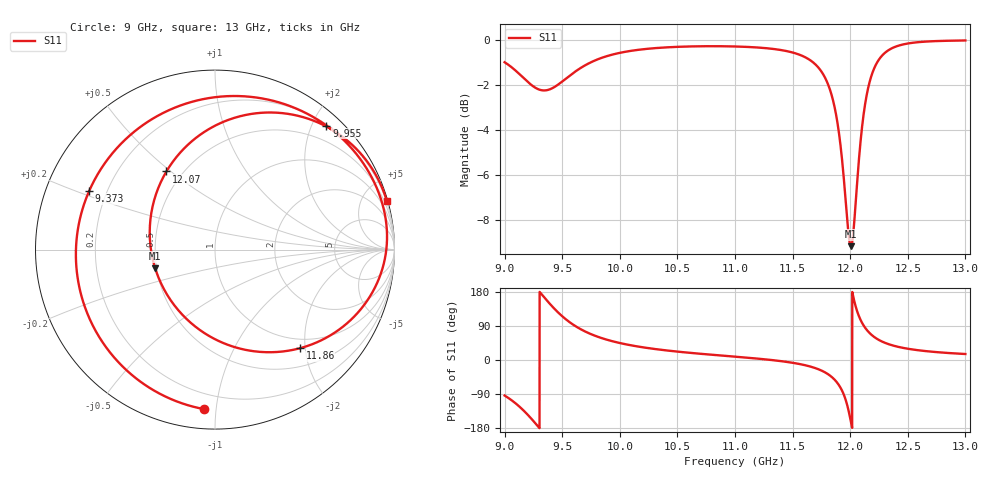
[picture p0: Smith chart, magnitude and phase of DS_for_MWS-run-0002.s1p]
! TOUCHSTONE file generated by CST DESIGN STUDIO
! Date and time: Tue Feb  4 17:58:38 2025
! Project name: C:\Work\MatlabApps\UnitCellOptimizationMatlab\CST\unitcell.cst
! Tree item: Tasks\Sweep1\SPara1\S-Parameters
! Header version: 2024
! Port assignment regex: !\s*Touchstone port\s*([0-9]+)\s*=\s*(CST MWS port|CST DES external port|CST DES block port)\s*(.+)\s* \(\"(.*)\"\)(\s*mode\s*([0-9]+))?.*
! Touchstone port assignment:
! Touchstone port 1 = CST DES external port 1 ("")
# GHz S MA R 50
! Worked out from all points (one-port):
!   4001 points, 9 GHz to 13 GHz, reference 50 ohm
!   lowest |S11| = -9.1 dB at 12.01 GHz (marker M1), VSWR 2.07, Z = 24.6 - j5.86 ohm
!   |S11| at or under -10 dB: nowhere
!   S11 on the Smith chart (normalised r, x): 9 GHz: 0.11, -0.93; 9.373 GHz: 0.13, +0.22; 9.955 GHz: 0.22, +2.23; 11.86 GHz: 0.82, -1.89; 12.07 GHz: 0.41, +0.48; 13 GHz: 0.12, +7.21
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9  0.891 -93.8
9.119  0.8433 -120.4
9.231  0.7941 -154.5
9.302  0.7749 -179.6
9.373  0.7734 155.0
9.5  0.8076 115.5
9.597  0.8438 92.9
9.72  0.8831 72.2
9.955  0.929 48.0
10  0.9346 44.8
10.5  0.9636 22.1
11  0.9654 8.8
11.5  0.9362 -7.4
11.722  0.8683 -24.2
11.796  0.8092 -35.2
11.856  0.7249 -49.3
11.936  0.5212 -85.2
11.967  0.4204 -111.4
12  0.3513 -153.5
12.006  0.3492 -162.5
12.036  0.3974 154.8
12.068  0.5125 121.9
12.103  0.6408 98.1
12.14  0.7465 80.9
12.249  0.9028 52.9
12.354  0.9544 39.8
12.5  0.9802 29.7
13  0.9955 15.8
